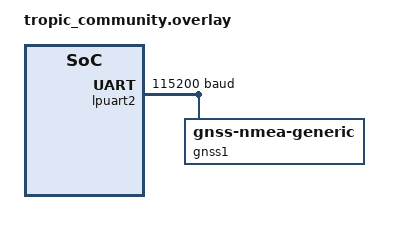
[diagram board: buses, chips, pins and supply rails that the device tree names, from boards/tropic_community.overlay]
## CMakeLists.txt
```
#-------------------------------------------------------------------------------
# Zephyr Cerebri Application
#
# Copyright (c) 2023 CogniPilot Foundation
# SPDX-License-Identifier: Apache-2.0

cmake_minimum_required(VERSION 3.13.1)

find_package(Zephyr REQUIRED HINTS $ENV{ZEPHYR_BASE})

project(hab LANGUAGES C)

# Suppress strncpy warning from upstream Zephyr USB MSC code (usbd_msc_scsi.c)
# The strncpy usage is correct for fixed-size SCSI fields that don't need null termination
zephyr_compile_options(-Wno-stringop-truncation)

set(CYECCA_PYTHON ${CMAKE_CURRENT_SOURCE_DIR}/../../scripts/cyecca_python)

set(CYECCA_PATH $ENV{ZEPHYR_BASE}/../modules/lib/cyecca)

set(flags
  -std=c11
  -Wall
  -Wextra
  -Werror
  -Wstrict-prototypes
  -Waggregate-return
  -Wbad-function-cast
  -Wcast-align
  -Wcast-qual
  -Wfloat-equal
  -Wformat-security
  -Wlogical-op
  -Wmissing-declarations
  # ubxlib includes geographiclib which dir doesn't exist
  #-Wmissing-include-dirs
  -Wmissing-prototypes
  -Wnested-externs
  -Wpointer-arith
  -Wredundant-decls
  -Wsequence-point
  -Wshadow
  -Wstrict-prototypes
  -Wswitch
  -Wundef
  -Wunreachable-code
  -Wunused-but-set-parameter
  -Wwrite-strings
  )
string(JOIN " " flags ${flags})

set(SOURCE_FILES
  src/boot_banner.c
  src/input_mapping.c
  )

if (CONFIG_CEREBRI_HAB_FSM)
  list(APPEND SOURCE_FILES src/fsm.c)
endif()

if (CONFIG_CEREBRI_HAB_ESTIMATE)
  list(APPEND SOURCE_FILES src/estimate.c)
endif()

if (CONFIG_CEREBRI_HAB_ALLOCATION)
  list(APPEND SOURCE_FILES src/allocation.c)
endif()

if (CONFIG_CEREBRI_HAB_LIGHTING)
  list(APPEND SOURCE_FILES src/lighting.c)
endif()

if (CONFIG_CEREBRI_HAB_COMMAND)
  list(APPEND SOURCE_FILES
    src/command.c
    src/mode_bezier.c
    src/mode_velocity.c
    src/mode_attitude.c
    src/mode_attitude_rate.c)
endif()

if (CONFIG_CEREBRI_HAB_POSITION)
  list(APPEND SOURCE_FILES
    src/position.c)
elseif (CONFIG_CEREBRI_HAB_LOGLINEAR_POSITION)
  list(APPEND SOURCE_FILES
    src/log_linear_position.c)
endif()

if (CONFIG_CEREBRI_HAB_ANGULAR_VELOCITY)
  list(APPEND SOURCE_FILES
    src/angular_velocity.c)
endif()

if (CONFIG_CEREBRI_HAB_ATTITUDE)
  list(APPEND SOURCE_FILES
    src/attitude.c)
elseif (CONFIG_CEREBRI_HAB_LOGLINEAR_ATTITUDE)
  list(APPEND SOURCE_FILES
    src/log_linear_attitude.c)
endif()

set(CASADI_DEST_DIR ${CMAKE_BINARY_DIR}/app/hab/casadi)

set(CASADI_FILES
  ${CASADI_DEST_DIR}/hab.c
  ${CASADI_DEST_DIR}/bezier.c
  )

if (CONFIG_CEREBRI_HAB_CASADI)
  list(APPEND SOURCE_FILES ${CASADI_FILES})
endif()

add_custom_command(OUTPUT ${CASADI_DEST_DIR}/hab.c
  COMMAND ${CYECCA_PYTHON} ${CYECCA_PATH}/cyecca/models/hab.py ${CASADI_DEST_DIR}
  DEPENDS ${CYECCA_PATH}/cyecca/models/hab.py)

add_custom_command(OUTPUT ${CASADI_DEST_DIR}/bezier.c
  COMMAND ${CYECCA_PYTHON} ${CYECCA_PATH}/cyecca/models/bezier.py ${CASADI_DEST_DIR}
  DEPENDS ${CYECCA_PATH}/cyecca/models/bezier.py)

set_source_files_properties(
  ${SOURCE_FILES}
  PROPERTIES COMPILE_FLAGS
  "${flags}"
  )

set_source_files_properties(
  ${CASADI_FILES}
  PROPERTIES COMPILE_FLAGS
  "${flags}\
  -Wno-unused-parameter\
  -Wno-missing-prototypes\
  -Wno-missing-declarations\
  -Wno-float-equal")

target_sources(app PRIVATE ${SOURCE_FILES})

target_include_directories(app SYSTEM BEFORE PRIVATE
  ${ZEPHYR_BASE}/include
  ${CMAKE_BINARY_DIR}
  )

if(CONFIG_BOARD STREQUAL "vmu_rt1170")
  zephyr_linker_sources(ITCM_SECTION boards/vmu_rt1170_itcm_linker.ld)
  zephyr_code_relocate(LIBRARY nanopb LOCATION ITCM_TEXT)
endif()

if(CONFIG_BOARD STREQUAL "mr_vmu_tropic")
  zephyr_linker_sources(ITCM_SECTION boards/mr_vmu_tropic_itcm_linker.ld)
  zephyr_code_relocate(LIBRARY nanopb LOCATION ITCM_TEXT)
endif()

if(CONFIG_BOARD STREQUAL "tropic_community")
  # Same coarse relocation vmu_rt1170/mr_navq95a use, without the
  # per-function profiled linker script mr_vmu_tropic also has - that one
  # is generated from a trace of a real running build and references
  # symbols specific to mr_vmu_tropic's own sensor drivers, so it isn't
  # something to copy blind. Revisit once there's a real build to profile.
  zephyr_code_relocate(LIBRARY nanopb LOCATION ITCM_TEXT)
endif()

if(CONFIG_BOARD STREQUAL "mr_navq95a" OR CONFIG_BOARD STREQUAL "mr_navq95b")
  # Relocate code to ITCM
  zephyr_linker_sources(ITCM_SECTION boards/mr_navq95a_itcm_linker.ld)
  zephyr_code_relocate(LIBRARY nanopb LOCATION ITCM_TEXT)
  # Relocate log ring buffer to SDRAM
  zephyr_linker_sources(SECTIONS boards/navq95.ld)
  # Relocate data to OCRAM since zephyr doesn't have an auto spillover
  zephyr_code_relocate(FILES ${SOURCE_FILES} LOCATION OCRAM_DATA)
  zephyr_code_relocate(FILES ${SOURCE_FILES} LOCATION OCRAM_BSS)
  zephyr_code_relocate(FILES ${SOURCE_FILES} LOCATION OCRAM_NOINIT)
  zephyr_code_relocate(LIBRARY cerebri_synapse_topic LOCATION OCRAM_BSS)
  zephyr_code_relocate(LIBRARY cerebri_synapse_topic LOCATION OCRAM_NOINIT)
endif()

# vi: ts=2 sw=2 et
```

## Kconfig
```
# Copyright (c) 2023, CogniPilot Foundation
# SPDX-License-Identifier: Apache-2.0

mainmenu "CogniPilot - Cerebri - HAB"
menu "Zephyr"
source "Kconfig.zephyr"
endmenu

menu "HAB"
config CEREBRI_HAB_ESTIMATE
  bool "enable estimate"
  depends on CEREBRI_HAB_CASADI
  help
    Enable estimator

config CEREBRI_HAB_FSM
  bool "enable finite state machine"
  help
    Enable fintie state machine

config CEREBRI_HAB_LIGHTING
  bool "enable lighting"
  help
    Enable lighting

config CEREBRI_HAB_COMMAND
  bool "enable command"
  depends on CEREBRI_HAB_ALLOCATION
  help
    Enable joy

config CEREBRI_HAB_ALLOCATION
  bool "enable mixing"
  help
    Enable mixing

config CEREBRI_HAB_POSITION
  bool "enable position"
  depends on CEREBRI_HAB_CASADI
  help
    Enable position

config CEREBRI_HAB_ANGULAR_VELOCITY
  bool "enable velocity"
  depends on CEREBRI_HAB_ALLOCATION
  depends on CEREBRI_HAB_CASADI
  help
    Enable velocity

config CEREBRI_HAB_ATTITUDE
  bool "enable attitude"
  depends on CEREBRI_HAB_ANGULAR_VELOCITY
  depends on CEREBRI_HAB_CASADI
  help
    Enable attitude

config CEREBRI_HAB_CASADI
  bool "enable casadi code"
  help
    Enable Casadi generated code

config CEREBRI_HAB_ESTIMATE_ODOMETRY_ETHERNET
  bool "fuse odometry from ethernet"
  depends on CEREBRI_HAB_ESTIMATE
  help
    Enable odometry from ethernet

config CEREBRI_HAB_BATTERY_NCELLS
  int "number of cells in battery"
  default 4
  help
    Number of cells in battery

config CEREBRI_HAB_BATTERY_CELL_MIN_MILLIVOLT
  int "millivolts per cell before shutdown"
  default 3300
  help
    millivolts per cell before shutdown

config CEREBRI_HAB_BATTERY_CELL_LOW_MILLIVOLT
  int "millivolts per cell before warning"
  default 3500
  help
    millivolts per cell before warning

config CEREBRI_HAB_BATTERY_CELL_NOM_MILLIVOLT
  int "nominal millivolts per cell"
  default 3700
  help
    nominal millivolts per cell

config CEREBRI_HAB_BATTERY_CELL_MAX_MILLIVOLT
  int "max millivolts per cell before warning"
  default 4300
  help
    max millivolts per cell before warning

config CEREBRI_HAB_GAIN_HEADING
  int "heading gain"
  default 100
  help
    Steering = Heading error * GAIN_/ 1000

config CEREBRI_HAB_GAIN_CROSS_TRACK
  int "cross track gain"
  default 100
  help
    Steering = Cross track error * GAIN / 1000

config CEREBRI_HAB_GAIN_ALONG_TRACK
  int "along track gain"
  default 100
  help
    Steering = Along track error * GAIN / 1000

config CEREBRI_HAB_MAX_VELOCITY_MM_S
  int "max velocity, mm/s"
  default 1000
  help
    Max velocity in mm/s

config CEREBRI_HAB_MOTOR_L_MM
  int "moment arm for props"
  default 174
  help
    moment arm for props

config CEREBRI_HAB_MOTOR_CM
  int "motor moment coefficient * 1e6"
  default 16000
  help
    moment arm for props

config CEREBRI_HAB_MOTOR_CT
  int "motor thrust coefficient * 1e9"
  default 8549
  help
    moment thrust coefficient * 1e9

config CEREBRI_HAB_ROLL_KP
  int "roll kp * 1e6"
  default 2000000
  help
    roll kp * 1e6

config CEREBRI_HAB_PITCH_KP
  int "pitch kp * 1e6"
  default 2000000
  help
    pitch kp * 1e6

config CEREBRI_HAB_YAW_KP
  int "yaw kp * 1e6"
  default 1000000
  help
    yaw kp * 1e6

config CEREBRI_HAB_ROLLRATE_KP
  int "rollrate kp * 1e6"
  default 300000
  help
    rollrate kp * 1e6

config CEREBRI_HAB_PITCHRATE_KP
  int "pitchrate kp * 1e6"
  default 300000
  help
    pitchrate kp * 1e6

config CEREBRI_HAB_YAWRATE_KP
  int "yawrate kp * 1e6"
  default 300000
  help
    yawrate kp * 1e6

config CEREBRI_HAB_ROLLRATE_KI
  int "rollrate ki * 1e6"
  default 50000
  help
    rollrate ki * 1e6

config CEREBRI_HAB_PITCHRATE_KI
  int "pitchrate ki * 1e6"
  default 50000
  help
    pitchrate ki * 1e6

config CEREBRI_HAB_YAWRATE_KI
  int "yawrate ki * 1e6"
  default 50000
  help
    yawrate ki * 1e6

config CEREBRI_HAB_ROLLRATE_KD
  int "rollrate kd * 1e6"
  default 0
  help
    rollrate kd * 1e6

config CEREBRI_HAB_PITCHRATE_KD
  int "pitchrate kd * 1e6"
  default 0
  help
    pitchrate kd * 1e6

config CEREBRI_HAB_YAWRATE_KD
  int "yawrate kd * 1e6"
  default 0
  help
    yawrate kd * 1e6

config CEREBRI_HAB_ATTITUDE_RATE_FCUT
  int "fcut [hz] * 1e3"
  default 20000
  help
    attitude_rate cut frequency * 1e3

config CEREBRI_HAB_ROLLRATE_IMAX
  int "rollrate imax * 1e3"
  default 20000
  help
    rollrate imax * 1e6

config CEREBRI_HAB_PITCHRATE_IMAX
  int "pitchate imax * 1e3"
  default 20000
  help
    pitchrate imax * 1e6

config CEREBRI_HAB_YAWRATE_IMAX
  int "yawrate imax * 1e6"
  default 20000
  help
    yawrate imax * 1e6

config CEREBRI_HAB_THRUST_TRIM
  int "thrust_trim * 1e3 [N}"
  default 21952
  help
    thrust trim * 1e3 [N]

config CEREBRI_HAB_THRUST_DELTA
  int "thrust delta* 1e3 [N}"
  default 19756
  help
    thrust delta imax * 1e3 [N}

config CEREBRI_HAB_LOG_LINEAR_ATTITUDE
  bool "enable loglinear attitude control"
  help
    Enable loglinear atitude control

config CEREBRI_HAB_LOG_LINEAR_POSITION
  bool "enable loglinear position control"
  help
    Enable loglinear atitude position

config CEREBRI_HAB_ATTITUDE_EST_ACCEL_GAIN
  int "attitude rate accel gain"
  default 40
  help
    attitude rate accel gain

config CEREBRI_HAB_ATTITUDE_EST_MAG_GAIN
  int "attitude rate mag gain"
  default 40
  help
    attitude rate mag gain


module = CEREBRI_HAB
module-str = cerebri_hab
source "subsys/logging/Kconfig.template.log_config"
endmenu
```

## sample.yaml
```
sample:
  description: HAB
  name: HAB
common:
  build_only: true
tests:
  hab.posix:
    tags:
      - hab
    integration_platforms:
      - native_sim
  hab.vmu_rt1170/mimxrt1176/cm7:
    tags:
      - hab
    integration_platforms:
      - vmu_rt1170/mimxrt1176/cm7
  hab.mr_vmu_tropic/mimxrt1064:
    tags:
      - hab
    integration_platforms:
      - mr_vmu_tropic/mimxrt1064
  hab.tropic_community/mimxrt1062:
    tags:
      - hab
    integration_platforms:
      - tropic_community/mimxrt1062
  hab.mr_navq95a/mimx9596/m7/flash:
    tags:
      - hab
    integration_platforms:
      - mr_navq95a/mimx9596/m7/flash
  hab.mr_navq95b/mimx9596/m7/flash:
    tags:
      - hab
    integration_platforms:
      - mr_navq95b/mimx9596/m7/flash
```

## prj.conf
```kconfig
CONFIG_CEREBRI_APP_NAME="hab"

CONFIG_SYS_CLOCK_TICKS_PER_SEC=100000
CONFIG_TICKLESS_KERNEL=n

CONFIG_CEREBRI_DREAM_SIL=n

CONFIG_CEREBRI_HAB_ESTIMATE=y
CONFIG_CEREBRI_HAB_FSM=y
CONFIG_CEREBRI_HAB_COMMAND=y
CONFIG_CEREBRI_HAB_ALLOCATION=y
CONFIG_CEREBRI_HAB_POSITION=y
CONFIG_CEREBRI_HAB_ANGULAR_VELOCITY=y
CONFIG_CEREBRI_HAB_ATTITUDE=y
CONFIG_CEREBRI_HAB_LOG_LINEAR_POSITION=y
CONFIG_CEREBRI_HAB_LOG_LINEAR_ATTITUDE=y
CONFIG_CEREBRI_HAB_LIGHTING=n
CONFIG_CEREBRI_HAB_CASADI=y
CONFIG_CEREBRI_ACTUATE_LED_ARRAY_COUNT=36

CONFIG_CEREBRI_ACTUATE_LED_ARRAY=y
CONFIG_CEREBRI_ACTUATE_SOUND=n

CONFIG_NET_BUF_RX_COUNT=24
CONFIG_NET_PKT_RX_COUNT=24

CONFIG_CEREBRI_SENSE_RC=y
CONFIG_INPUT_MODE_SYNCHRONOUS=y
CONFIG_CEREBRI_SENSE_POWER=y
CONFIG_CEREBRI_SENSE_SAFETY=n
CONFIG_ZROS_SENSE_IMU=n
CONFIG_ZROS_SENSE_MAG=n

CONFIG_CEREBRI_HAB_ESTIMATE_ODOMETRY_ETHERNET=n
CONFIG_CEREBRI_SYNAPSE_ETH_RX=y
CONFIG_CEREBRI_SYNAPSE_ETH_TX=y
CONFIG_CEREBRI_SYNAPSE_LOG_SDCARD=y

CONFIG_CEREBRI_SYNAPSE_TOPIC=y
CONFIG_CEREBRI_CORE_COMMON=y
CONFIG_CEREBRI_CORE_COMMON_BOOT_BANNER=n
CONFIG_ZROS=y
CONFIG_SHELL_STACK_SIZE=8192
CONFIG_INIT_STACKS=y

CONFIG_LOG=y
CONFIG_LOG_CMDS=y
CONFIG_LOG_MODE_DEFERRED=y
CONFIG_CEREBRI_HAB_LOG_LEVEL_DBG=n

CONFIG_SPI_RTIO=y
CONFIG_SPI_ASYNC=n
CONFIG_SPI_NXP_LPSPI_DMA=n
CONFIG_ICM4268X_DECODER=y
CONFIG_ICM4268X_STREAM=y

CONFIG_FILE_SYSTEM=y
CONFIG_FAT_FILESYSTEM_ELM=y
CONFIG_DISK_ACCESS=y
CONFIG_FS_FATFS_EXFAT=y
CONFIG_POSIX_FILE_SYSTEM=y
CONFIG_DISK_DRIVER_SDMMC=y
CONFIG_FS_FATFS_MOUNT_MKFS=y

CONFIG_CBPRINTF_FP_SUPPORT=y

# modules
CONFIG_SYNAPSE_PB=y
CONFIG_NANOPB=y

# General config
CONFIG_POSIX_API=y
CONFIG_NEWLIB_LIBC=y
CONFIG_MAIN_THREAD_PRIORITY=5
CONFIG_SYSTEM_WORKQUEUE_PRIORITY=-2

# Networking config
CONFIG_NET_SHELL=y
CONFIG_NETWORKING=y
CONFIG_NET_IPV4=y
CONFIG_NET_IPV6=n
CONFIG_NET_TCP=y
CONFIG_NET_SOCKETS=y

# Network address config
CONFIG_NET_CONFIG_SETTINGS=y
CONFIG_NET_CONFIG_INIT_TIMEOUT=0
CONFIG_NET_STATISTICS=y
CONFIG_NET_MGMT_EVENT_INFO=y
CONFIG_NET_MGMT_EVENT_MONITOR=y
CONFIG_NET_BUF_POOL_USAGE=y
CONFIG_NET_DEBUG_NET_PKT_ALLOC=y
CONFIG_NET_CONFIG_NEED_IPV4=y
CONFIG_NET_CONFIG_MY_IPV4_ADDR="192.0.2.1"
CONFIG_NET_CONFIG_PEER_IPV4_ADDR="192.0.2.2"

# STATS
CONFIG_THREAD_RUNTIME_STATS=y
CONFIG_SCHED_THREAD_USAGE=y
CONFIG_SCHED_THREAD_USAGE_ANALYSIS=y
CONFIG_SCHED_THREAD_USAGE_ALL=y
CONFIG_SCHED_THREAD_USAGE_AUTO_ENABLE=y
```

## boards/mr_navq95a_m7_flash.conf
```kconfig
CONFIG_ENTROPY_GENERATOR=y
CONFIG_TEST_RANDOM_GENERATOR=y
CONFIG_SPEED_OPTIMIZATIONS=n
CONFIG_SIZE_OPTIMIZATIONS=n
CONFIG_DEBUG_OPTIMIZATIONS=y
CONFIG_CODE_DATA_RELOCATION=y

CONFIG_TEST=y
CONFIG_UBSAN=n
CONFIG_ASSERT=y
CONFIG_ASSERT_LEVEL=2
CONFIG_ASSERT_VERBOSE=y
CONFIG_CODE_DATA_RELOCATION=y

CONFIG_CMSIS_DSP=y
CONFIG_CMSIS_DSP_FILTERING=y


CONFIG_SYSTEM_WORKQUEUE_STACK_SIZE=4096

CONFIG_STACK_CANARIES=y

CONFIG_ISR_STACK_SIZE=2048
CONFIG_SHELL_STACK_SIZE=4096

CONFIG_LOG_MODE_DEFERRED=y
CONFIG_LOG_MODE_IMMEDIATE=n

CONFIG_FPU=y

# gains
CONFIG_CEREBRI_HAB_THRUST_TRIM=10976
CONFIG_CEREBRI_HAB_THRUST_DELTA=10976

CONFIG_CEREBRI_HAB_ROLL_KP=5000000
CONFIG_CEREBRI_HAB_PITCH_KP=5000000
CONFIG_CEREBRI_HAB_YAW_KP=2000000

CONFIG_CEREBRI_HAB_ROLLRATE_KP=300000
CONFIG_CEREBRI_HAB_PITCHRATE_KP=300000
CONFIG_CEREBRI_HAB_YAWRATE_KP=50000

CONFIG_CEREBRI_HAB_ROLLRATE_KI=50000
CONFIG_CEREBRI_HAB_PITCHRATE_KI=50000
CONFIG_CEREBRI_HAB_YAWRATE_KI=50000

CONFIG_CEREBRI_HAB_ROLLRATE_IMAX=20000
CONFIG_CEREBRI_HAB_PITCHRATE_IMAX=20000
CONFIG_CEREBRI_HAB_YAWRATE_IMAX=20000

CONFIG_CEREBRI_HAB_ROLLRATE_KD=10000
CONFIG_CEREBRI_HAB_PITCHRATE_KD=10000
CONFIG_CEREBRI_HAB_YAWRATE_KD=0
CONFIG_CEREBRI_HAB_ATTITUDE_RATE_FCUT=10000

CONFIG_CEREBRI_HAB_ATTITUDE_EST_ACCEL_GAIN=140
CONFIG_CEREBRI_HAB_ATTITUDE_EST_MAG_GAIN=800

# HAB APPS
CONFIG_CEREBRI_HAB_ALLOCATION=y
CONFIG_CEREBRI_HAB_ANGULAR_VELOCITY=y
CONFIG_CEREBRI_HAB_ATTITUDE=y
CONFIG_CEREBRI_HAB_COMMAND=y
CONFIG_CEREBRI_HAB_ESTIMATE=y
CONFIG_CEREBRI_HAB_ESTIMATE_ODOMETRY_ETHERNET=n
CONFIG_CEREBRI_HAB_FSM=y
CONFIG_CEREBRI_HAB_LIGHTING=n
CONFIG_CEREBRI_HAB_POSITION=y

# disabled for first live flight
CONFIG_CEREBRI_ACTUATE_PWM_SHELL=n
CONFIG_CEREBRI_ACTUATE_SOUND=n

# config
CONFIG_INPUT=y
CONFIG_INPUT_SBUS=y
CONFIG_INPUT_SBUS_THREAD_STACK_SIZE=1024
CONFIG_INPUT_EVENT_DUMP=n
CONFIG_INPUT_SHELL=n
CONFIG_INPUT_SBUS_REPORT_FILTER=0
CONFIG_INPUT_THREAD_STACK_SIZE=2048

CONFIG_DISK_ACCESS=n
CONFIG_FS_FATFS_EXFAT=n
CONFIG_DISK_DRIVER_SDMMC=n
CONFIG_FS_FATFS_MOUNT_MKFS=n
CONFIG_CEREBRI_SYNAPSE_LOG_SDCARD=y
CONFIG_RING_BUFFER_LARGE=y
CONFIG_ZROS_SENSE_IMU=y

CONFIG_CEREBRI_SENSE_RC=y
#CONFIG_ZROS_SENSE_MAG=y
CONFIG_CEREBRI_SENSE_SAFETY=n

# I3C tends to lock up the system, needs a driver fix
CONFIG_ZROS_SENSE_MAG=n
CONFIG_I3C=n
CONFIG_BMM350=n
CONFIG_BMP581=n

CONFIG_CEREBRI_SYNAPSE_ETH_RX=y
CONFIG_CEREBRI_SYNAPSE_ETH_TX=y
CONFIG_CEREBRI_ACTUATE_LED_ARRAY=n
CONFIG_CEREBRI_SENSE_POWER=y

CONFIG_PWM=y

CONFIG_LED_STRIP=n
CONFIG_APA102_STRIP=n

CONFIG_CAN=y
CONFIG_CAN_MAX_FILTER=5
CONFIG_CAN_SHELL=y

CONFIG_NET_DRIVERS=y

CONFIG_NET_SOCKETS_CAN=y
CONFIG_NET_DEFAULT_IF_CANBUS_RAW=y

CONFIG_CAN_LOG_LEVEL_DBG=n
CONFIG_CAN_FD_MODE=y
CONFIG_SHELL_ARGC_MAX=72
CONFIG_I2C=y
CONFIG_SENSOR=y
CONFIG_SENSOR_SHELL=y
CONFIG_HEAP_MEM_POOL_SIZE=16384

# Debugging
CONFIG_DEBUG_THREAD_INFO=y

# Logging
#CONFIG_LOG_BACKEND_NET=n
#CONFIG_LOG_BACKEND_NET_SERVER="192.0.2.2"

# RPMsg
CONFIG_IPM=y
CONFIG_IPM_MBOX=y
CONFIG_MBOX_NXP_IMX_MU=y
CONFIG_MBOX_INIT_PRIORITY=0
CONFIG_OPENAMP=y
CONFIG_OPENAMP_COPY_RSC_TABLE=y
CONFIG_OPENAMP_RSC_TABLE_NUM_RPMSG_BUFF=8
CONFIG_OPENAMP_RSC_TABLE=y
CONFIG_OPENAMP_MASTER=n
CONFIG_OPENAMP_WITH_DCACHE=y
CONFIG_CEREBRI_SYNAPSE_RPMSG=y

# TTY over RPMsg (uncomment block below to enable)
#CONFIG_SHELL_BACKEND_RPMSG=y
#CONFIG_SHELL_BACKEND_SERIAL=n
#CONFIG_ASSERT=n

# Disable fat and enable rpmsgfs
CONFIG_FILE_SYSTEM_RPMSGFS=y
CONFIG_FAT_FILESYSTEM_ELM=n
CONFIG_FILE_SYSTEM_SHELL=y

# Disable atomic 64 support otherwise open-amp cannot be linked
CONFIG_COMPILER_OPT="-DNO_ATOMIC_64_SUPPORT"
```

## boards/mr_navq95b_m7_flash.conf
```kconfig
CONFIG_ENTROPY_GENERATOR=y
CONFIG_TEST_RANDOM_GENERATOR=y
CONFIG_SPEED_OPTIMIZATIONS=n
CONFIG_SIZE_OPTIMIZATIONS=n
CONFIG_DEBUG_OPTIMIZATIONS=y
CONFIG_CODE_DATA_RELOCATION=y

CONFIG_TEST=y
CONFIG_UBSAN=n
CONFIG_ASSERT=y
CONFIG_ASSERT_LEVEL=2
CONFIG_ASSERT_VERBOSE=y
CONFIG_CODE_DATA_RELOCATION=y

CONFIG_CMSIS_DSP=y
CONFIG_CMSIS_DSP_FILTERING=y


CONFIG_SYSTEM_WORKQUEUE_STACK_SIZE=4096

CONFIG_STACK_CANARIES=y

CONFIG_ISR_STACK_SIZE=2048
CONFIG_SHELL_STACK_SIZE=4096

CONFIG_LOG_MODE_DEFERRED=y
CONFIG_LOG_MODE_IMMEDIATE=n

CONFIG_FPU=y

# gains
CONFIG_CEREBRI_HAB_THRUST_TRIM=10976
CONFIG_CEREBRI_HAB_THRUST_DELTA=10976

CONFIG_CEREBRI_HAB_ROLL_KP=5000000
CONFIG_CEREBRI_HAB_PITCH_KP=5000000
CONFIG_CEREBRI_HAB_YAW_KP=2000000

CONFIG_CEREBRI_HAB_ROLLRATE_KP=300000
CONFIG_CEREBRI_HAB_PITCHRATE_KP=300000
CONFIG_CEREBRI_HAB_YAWRATE_KP=50000

CONFIG_CEREBRI_HAB_ROLLRATE_KI=50000
CONFIG_CEREBRI_HAB_PITCHRATE_KI=50000
CONFIG_CEREBRI_HAB_YAWRATE_KI=50000

CONFIG_CEREBRI_HAB_ROLLRATE_IMAX=20000
CONFIG_CEREBRI_HAB_PITCHRATE_IMAX=20000
CONFIG_CEREBRI_HAB_YAWRATE_IMAX=20000

CONFIG_CEREBRI_HAB_ROLLRATE_KD=10000
CONFIG_CEREBRI_HAB_PITCHRATE_KD=10000
CONFIG_CEREBRI_HAB_YAWRATE_KD=0
CONFIG_CEREBRI_HAB_ATTITUDE_RATE_FCUT=10000

CONFIG_CEREBRI_HAB_ATTITUDE_EST_ACCEL_GAIN=140
CONFIG_CEREBRI_HAB_ATTITUDE_EST_MAG_GAIN=800

# HAB APPS
CONFIG_CEREBRI_HAB_ALLOCATION=y
CONFIG_CEREBRI_HAB_ANGULAR_VELOCITY=y
CONFIG_CEREBRI_HAB_ATTITUDE=y
CONFIG_CEREBRI_HAB_COMMAND=y
CONFIG_CEREBRI_HAB_ESTIMATE=y
CONFIG_CEREBRI_HAB_ESTIMATE_ODOMETRY_ETHERNET=n
CONFIG_CEREBRI_HAB_FSM=y
CONFIG_CEREBRI_HAB_LIGHTING=n
CONFIG_CEREBRI_HAB_POSITION=y

# disabled for first live flight
CONFIG_CEREBRI_ACTUATE_PWM_SHELL=n
CONFIG_CEREBRI_ACTUATE_SOUND=n

# config
CONFIG_INPUT=y
CONFIG_INPUT_SBUS=y
CONFIG_INPUT_SBUS_THREAD_STACK_SIZE=1024
CONFIG_INPUT_EVENT_DUMP=n
CONFIG_INPUT_SHELL=n
CONFIG_INPUT_MODE_SYNCHRONOUS=n
CONFIG_INPUT_SBUS_REPORT_FILTER=0
CONFIG_INPUT_THREAD_STACK_SIZE=2048

CONFIG_DISK_ACCESS=n
CONFIG_FS_FATFS_EXFAT=n
CONFIG_DISK_DRIVER_SDMMC=n
CONFIG_FS_FATFS_MOUNT_MKFS=n
CONFIG_CEREBRI_SYNAPSE_LOG_SDCARD=y
CONFIG_RING_BUFFER_LARGE=y
CONFIG_ZROS_SENSE_STREAM=y
CONFIG_ZROS_SENSE_STREAM_IMU=y

CONFIG_ICM45686_STREAM=y

CONFIG_CEREBRI_SENSE_RC=y
CONFIG_CEREBRI_SENSE_SAFETY=n

CONFIG_ZROS_SENSE_MAG=y
CONFIG_I3C=y
CONFIG_BMM350=y
CONFIG_BMP581=y

CONFIG_CEREBRI_SYNAPSE_ETH_RX=y
CONFIG_CEREBRI_SYNAPSE_ETH_TX=y
CONFIG_CEREBRI_ACTUATE_LED_ARRAY=n
CONFIG_CEREBRI_SENSE_POWER=n # Needs pull-up

CONFIG_PWM=y

CONFIG_LED_STRIP=n
CONFIG_APA102_STRIP=n
CONFIG_ZROS_SENSE_MAG_COUNT=1

CONFIG_CAN=y
CONFIG_CAN_MAX_FILTER=5
CONFIG_CAN_SHELL=y

CONFIG_NET_DRIVERS=y

CONFIG_NET_SOCKETS_CAN=y
CONFIG_NET_DEFAULT_IF_CANBUS_RAW=y

CONFIG_CAN_LOG_LEVEL_DBG=n
CONFIG_CAN_FD_MODE=y
CONFIG_SHELL_ARGC_MAX=72
CONFIG_I2C=y
CONFIG_SENSOR=y
CONFIG_SENSOR_SHELL=y
CONFIG_HEAP_MEM_POOL_SIZE=16384

# Debugging
CONFIG_DEBUG_THREAD_INFO=y

# Logging
#CONFIG_LOG_BACKEND_NET=n
#CONFIG_LOG_BACKEND_NET_SERVER="192.0.2.2"

# RPMsg
CONFIG_IPM=y
CONFIG_IPM_MBOX=y
CONFIG_MBOX_NXP_IMX_MU=y
CONFIG_MBOX_INIT_PRIORITY=0
CONFIG_OPENAMP=y
CONFIG_OPENAMP_COPY_RSC_TABLE=y
CONFIG_OPENAMP_RSC_TABLE_NUM_RPMSG_BUFF=8
CONFIG_OPENAMP_RSC_TABLE=y
CONFIG_OPENAMP_MASTER=n
CONFIG_OPENAMP_WITH_DCACHE=y
CONFIG_CEREBRI_SYNAPSE_RPMSG=y

# TTY over RPMsg (uncomment block below to enable)
#CONFIG_SHELL_BACKEND_RPMSG=y
#CONFIG_SHELL_BACKEND_SERIAL=n
#CONFIG_ASSERT=n

# Disable fat and enable rpmsgfs
CONFIG_FILE_SYSTEM_RPMSGFS=y
CONFIG_FAT_FILESYSTEM_ELM=n
CONFIG_FILE_SYSTEM_SHELL=y

# Disable atomic 64 support otherwise open-amp cannot be linked
CONFIG_COMPILER_OPT="-DNO_ATOMIC_64_SUPPORT"
```

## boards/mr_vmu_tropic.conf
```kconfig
#CONFIG_SPEED_OPTIMIZATIONS=y
CONFIG_SIZE_OPTIMIZATIONS=y
CONFIG_CODE_DATA_RELOCATION=y

CONFIG_TEST=y
CONFIG_UBSAN=n
#FlexPWM bug
#CONFIG_ASSERT=y
CONFIG_ASSERT_LEVEL=2
CONFIG_ASSERT_VERBOSE=y

CONFIG_CMSIS_DSP=y
CONFIG_CMSIS_DSP_FILTERING=y


CONFIG_SYSTEM_WORKQUEUE_STACK_SIZE=4096

CONFIG_STACK_CANARIES=y

CONFIG_ISR_STACK_SIZE=8192

CONFIG_LOG_MODE_DEFERRED=y
CONFIG_LOG_MODE_IMMEDIATE=n

CONFIG_FPU=y

# gains
CONFIG_CEREBRI_HAB_THRUST_TRIM=10976
CONFIG_CEREBRI_HAB_THRUST_DELTA=10976

CONFIG_CEREBRI_HAB_ROLL_KP=5000000
CONFIG_CEREBRI_HAB_PITCH_KP=5000000
CONFIG_CEREBRI_HAB_YAW_KP=2000000

CONFIG_CEREBRI_HAB_ROLLRATE_KP=600000
CONFIG_CEREBRI_HAB_PITCHRATE_KP=600000
CONFIG_CEREBRI_HAB_YAWRATE_KP=100000

CONFIG_CEREBRI_HAB_ROLLRATE_KI=50000
CONFIG_CEREBRI_HAB_PITCHRATE_KI=50000
CONFIG_CEREBRI_HAB_YAWRATE_KI=50000

CONFIG_CEREBRI_HAB_ROLLRATE_IMAX=20000
CONFIG_CEREBRI_HAB_PITCHRATE_IMAX=20000
CONFIG_CEREBRI_HAB_YAWRATE_IMAX=20000

CONFIG_CEREBRI_HAB_ROLLRATE_KD=20000
CONFIG_CEREBRI_HAB_PITCHRATE_KD=20000
CONFIG_CEREBRI_HAB_YAWRATE_KD=0
CONFIG_CEREBRI_HAB_ATTITUDE_RATE_FCUT=10000

CONFIG_CEREBRI_HAB_ATTITUDE_EST_ACCEL_GAIN=140
CONFIG_CEREBRI_HAB_ATTITUDE_EST_MAG_GAIN=800

# HAB APPS
CONFIG_CEREBRI_HAB_ALLOCATION=y
CONFIG_CEREBRI_HAB_ANGULAR_VELOCITY=y
CONFIG_CEREBRI_HAB_ATTITUDE=y
CONFIG_CEREBRI_HAB_COMMAND=y
CONFIG_CEREBRI_HAB_ESTIMATE=y
CONFIG_CEREBRI_HAB_ESTIMATE_ODOMETRY_ETHERNET=n
CONFIG_CEREBRI_HAB_FSM=y
CONFIG_CEREBRI_HAB_LIGHTING=n
CONFIG_CEREBRI_HAB_POSITION=y

# disabled for first live flight
CONFIG_CEREBRI_ACTUATE_PWM_SHELL=n
CONFIG_CEREBRI_ACTUATE_SOUND=y

# config
CONFIG_INPUT=y
CONFIG_INPUT_SBUS_THREAD_STACK_SIZE=8192
CONFIG_INPUT_EVENT_DUMP=n
CONFIG_INPUT_SHELL=n
CONFIG_INPUT_SBUS_REPORT_FILTER=0

CONFIG_CEREBRI_SYNAPSE_LOG_SDCARD=y
CONFIG_ZROS_SENSE_STREAM=y
CONFIG_ZROS_SENSE_STREAM_IMU=y
CONFIG_ICM45686_STREAM=y
#CONFIG_ZROS_SENSE_STREAM_IMU_DRDY_MODE=y

CONFIG_CEREBRI_SENSE_RC=y
CONFIG_ZROS_SENSE_MAG=y
CONFIG_CEREBRI_SENSE_SAFETY=y
CONFIG_ZROS_SENSE_GNSS=y

CONFIG_CEREBRI_SYNAPSE_ETH_RX=y
CONFIG_CEREBRI_SYNAPSE_ETH_TX=y
CONFIG_CEREBRI_ACTUATE_LED_ARRAY=n
CONFIG_CEREBRI_SENSE_POWER=y

CONFIG_PWM=y

CONFIG_ZROS_SENSE_MAG_COUNT=1

CONFIG_CAN=y
CONFIG_CAN_MAX_FILTER=5
CONFIG_CAN_SHELL=y

CONFIG_NET_DRIVERS=y
CONFIG_NET_CANBUS=y

CONFIG_NET_SOCKETS_CAN=y
CONFIG_NET_DEFAULT_IF_CANBUS_RAW=y

CONFIG_CAN_LOG_LEVEL_DBG=n
CONFIG_CAN_FD_MODE=y
CONFIG_SHELL_ARGC_MAX=72
CONFIG_I2C=y
CONFIG_SENSOR=y
CONFIG_SENSOR_SHELL=y
CONFIG_HEAP_MEM_POOL_SIZE=16384

# Debugging
CONFIG_DEBUG_THREAD_INFO=y

# Logging
#CONFIG_LOG_BACKEND_NET=n
#CONFIG_LOG_BACKEND_NET_SERVER="192.0.2.2"
```

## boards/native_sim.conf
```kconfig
# gains
CONFIG_CEREBRI_HAB_THRUST_TRIM=21952
CONFIG_CEREBRI_HAB_THRUST_DELTA=19756

CONFIG_CEREBRI_HAB_ESTIMATE_ODOMETRY_ETHERNET=n

CONFIG_CEREBRI_HAB_ROLL_KP=5000000
CONFIG_CEREBRI_HAB_PITCH_KP=5000000
CONFIG_CEREBRI_HAB_YAW_KP=2000000

CONFIG_CEREBRI_HAB_ROLLRATE_KP=300000
CONFIG_CEREBRI_HAB_PITCHRATE_KP=300000
CONFIG_CEREBRI_HAB_YAWRATE_KP=50000

CONFIG_CEREBRI_HAB_ROLLRATE_KI=50000
CONFIG_CEREBRI_HAB_PITCHRATE_KI=50000
CONFIG_CEREBRI_HAB_YAWRATE_KI=50000

CONFIG_CEREBRI_HAB_ROLLRATE_IMAX=20000
CONFIG_CEREBRI_HAB_PITCHRATE_IMAX=20000
CONFIG_CEREBRI_HAB_YAWRATE_IMAX=20000

CONFIG_CEREBRI_HAB_ROLLRATE_KD=10000
CONFIG_CEREBRI_HAB_PITCHRATE_KD=10000
CONFIG_CEREBRI_HAB_YAWRATE_KD=0
CONFIG_CEREBRI_HAB_ATTITUDE_RATE_FCUT=10000

CONFIG_CEREBRI_HAB_ATTITUDE_EST_ACCEL_GAIN=150
CONFIG_CEREBRI_HAB_ATTITUDE_EST_MAG_GAIN=150

# config
CONFIG_ETH_NATIVE_POSIX=y
CONFIG_TEST_RANDOM_GENERATOR=y
CONFIG_SYS_CLOCK_TICKS_PER_SEC=500
CONFIG_NATIVE_POSIX_SLOWDOWN_TO_REAL_TIME=n

CONFIG_NO_OPTIMIZATIONS=y
CONFIG_UART_NATIVE_PTY=y

CONFIG_REBOOT=n
CONFIG_LOG_BACKEND_NATIVE_POSIX=y
CONFIG_LOG_MODE_DEFERRED=n
CONFIG_LOG_MODE_IMMEDIATE=y

CONFIG_UART_NATIVE_PTY_0_ON_OWN_PTY=y
CONFIG_UART_NATIVE_PTY_0_ON_STDINOUT=n
CONFIG_UART_NATIVE_PTY_AUTOATTACH_DEFAULT_CMD="xterm -fa Monospcae -fs 12 -fg grey -bg black -T cerebri-shell -e screen %s &"

CONFIG_CEREBRI_BOOT_BANNER=n
CONFIG_CEREBRI_DREAM_SIL=y

CONFIG_TEST=y
CONFIG_ASAN=y
CONFIG_UBSAN=n
CONFIG_ASSERT=y
CONFIG_ASSERT_LEVEL=2
CONFIG_ASSERT_VERBOSE=y

CONFIG_CEREBRI_ACTUATE_LED_ARRAY=n
CONFIG_CEREBRI_ACTUATE_SOUND=n
CONFIG_CEREBRI_ACTUATE_PWM=n
CONFIG_CEREBRI_SENSE_POWER=n
CONFIG_CEREBRI_SENSE_RC=n
CONFIG_ZROS_SENSE_IMU=n
CONFIG_ZROS_SENSE_BARO=n
CONFIG_ZROS_SENSE_MAG=n
CONFIG_ZROS_SENSE_GNSS=n
CONFIG_CEREBRI_SENSE_SAFETY=n
CONFIG_CEREBRI_SENSE_WHEEL_ODOMETRY=n

CONFIG_DISK_ACCESS=n
CONFIG_FS_FATFS_EXFAT=n
CONFIG_DISK_DRIVER_SDMMC=n
CONFIG_FS_FATFS_MOUNT_MKFS=n
CONFIG_CEREBRI_SYNAPSE_LOG_SDCARD=n

CONFIG_NEWLIB_LIBC=n
CONFIG_EXTERNAL_LIBC=y
CONFIG_POSIX_API=n
```

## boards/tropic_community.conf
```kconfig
CONFIG_SIZE_OPTIMIZATIONS=y
CONFIG_CODE_DATA_RELOCATION=y

# prj.conf runs a ticking kernel at 100 kHz: a SysTick interrupt, and often a
# context switch, every 10 us. On this RT1062 (600 MHz, code executing from
# QSPI flash through the I-cache) that leaves too little headroom - once SD
# logging's code competes for the cache, tick + switch handling can take the
# whole CPU and starve every thread. Tickless keeps the same 10 us resolution
# but only interrupts when a timeout is actually due.
CONFIG_TICKLESS_KERNEL=y

# Isolated re-test: ONLY the watchdog (no CONFIG_SYMTAB, no HAL fix) - the one
# remaining untested variable from the earlier build that ran clean with the
# SD logging hang, to check whether it alone is what stops the hang.
CONFIG_WATCHDOG=y


# Console/shell over USB CDC-ACM (see the board dts's cdc_acm_uart0 node) -
# no debug UART adapter needed, same USB cable used to flash. Matches
# Zephyr's own samples/subsys/shell/shell_module/overlay-usb.conf.
CONFIG_USB_DEVICE_STACK_NEXT=y
CONFIG_CDC_ACM_SERIAL_INITIALIZE_AT_BOOT=y
CONFIG_CDC_ACM_SERIAL_PRODUCT_STRING="Tropic Community VMU"
CONFIG_UART_LINE_CTRL=y

# Zephyr's own default TX ring buffer for the interrupt-driven shell serial
# backend is a tiny 8 bytes (subsys/shell/backends/Kconfig.backends) - its
# own help text says increasing it "reduces number of interrupts". This
# shell redraws its prompt after nearly every single log line (heavy VT100
# escape sequences), so with only 8 bytes of buffering that turns into a
# storm of tiny interrupt-driven UART bursts under any burst of console
# output (e.g. IMU calibration's several result lines printing back to
# back) - real terminal emulators (confirmed with `screen`) can drop bytes
# under that kind of jittery, chopped-up transmission pattern, making
# output look like it stalled/never printed when it actually did. Bumped
# generously so the whole burst goes out as one clean transfer instead of
# dozens of small ones.
CONFIG_SHELL_BACKEND_SERIAL_TX_RING_BUFFER_SIZE=512

# The USB stack's own INF-level logging (one line per control transfer
# during enumeration) was flooding the small default log ring buffer at
# boot, evicting other modules' still-unprocessed messages (confirmed via
# "--- N messages dropped ---" markers in captured boot logs, right when
# trying to diagnose why the GNSS driver printed nothing at all despite
# clearly being compiled in and enabled). Quiet it down and grow the
# buffer so real diagnostic messages don't get silently lost in the noise.
CONFIG_USBD_LOG_LEVEL_ERR=y
CONFIG_LOG_BUFFER_SIZE=4096

CONFIG_TEST=y
CONFIG_UBSAN=n
CONFIG_ASSERT_LEVEL=2
CONFIG_ASSERT_VERBOSE=y

CONFIG_CMSIS_DSP=y
CONFIG_CMSIS_DSP_FILTERING=y

CONFIG_SYSTEM_WORKQUEUE_STACK_SIZE=4096
CONFIG_STACK_CANARIES=y
CONFIG_ISR_STACK_SIZE=8192

# NOTE: a "boot log to SD card via zephyr,fstab automount +
# CONFIG_LOG_BACKEND_FS" diagnostic was tried and removed - it caused
# unrelated, genuine intermittent boot instability of its own (confirmed
# by bisection: added latency/resource use during boot made an already-
# marginal IMU driver init timeout fail more often, and this build's own
# startup tone became inconsistent). Don't re-add without first
# retesting IMU/buzzer reliability across several power cycles.
CONFIG_LOG_MODE_DEFERRED=y
CONFIG_LOG_MODE_IMMEDIATE=n

CONFIG_FPU=y

# gains (copied from mr_vmu_tropic as a starting point - retune for this
# airframe/motor combination before flight)
CONFIG_CEREBRI_HAB_THRUST_TRIM=10976
CONFIG_CEREBRI_HAB_THRUST_DELTA=10976

CONFIG_CEREBRI_HAB_ROLL_KP=5000000
CONFIG_CEREBRI_HAB_PITCH_KP=5000000
CONFIG_CEREBRI_HAB_YAW_KP=2000000

CONFIG_CEREBRI_HAB_ROLLRATE_KP=600000
CONFIG_CEREBRI_HAB_PITCHRATE_KP=600000
CONFIG_CEREBRI_HAB_YAWRATE_KP=100000

CONFIG_CEREBRI_HAB_ROLLRATE_KI=50000
CONFIG_CEREBRI_HAB_PITCHRATE_KI=50000
CONFIG_CEREBRI_HAB_YAWRATE_KI=50000

CONFIG_CEREBRI_HAB_ROLLRATE_IMAX=20000
CONFIG_CEREBRI_HAB_PITCHRATE_IMAX=20000
CONFIG_CEREBRI_HAB_YAWRATE_IMAX=20000

CONFIG_CEREBRI_HAB_ROLLRATE_KD=20000
CONFIG_CEREBRI_HAB_PITCHRATE_KD=20000
CONFIG_CEREBRI_HAB_YAWRATE_KD=0
CONFIG_CEREBRI_HAB_ATTITUDE_RATE_FCUT=10000

# Previous values (copied from mr_vmu_tropic, untuned):
# CONFIG_CEREBRI_HAB_ATTITUDE_EST_ACCEL_GAIN=140
# CONFIG_CEREBRI_HAB_ATTITUDE_EST_MAG_GAIN=800
# PX4 attitude_estimator_q defaults (ATT_W_ACC=0.2, ATT_W_MAG=0.1), units of 1e-3:
CONFIG_CEREBRI_HAB_ATTITUDE_EST_ACCEL_GAIN=200
CONFIG_CEREBRI_HAB_ATTITUDE_EST_MAG_GAIN=100

# HAB APPS
# ALLOCATION/ANGULAR_VELOCITY/ATTITUDE/COMMAND/POSITION were the leftover
# rdd2-copied drone control stack (motor allocation, cascaded PID attitude/
# position control) - disabled since their C files call casadi functions
# (control_allocation, attitude_control, position_control, etc.) that no
# longer exist in hab.py, now that it's estimator-only. Not part of the
# balloon's control plan (MPC + ValBal fail-safe, decided separately) -
# re-enable only if that drone-control code is ever actually rewritten for
# the balloon instead of deleted.
CONFIG_CEREBRI_HAB_ALLOCATION=n
CONFIG_CEREBRI_HAB_ANGULAR_VELOCITY=n
CONFIG_CEREBRI_HAB_ATTITUDE=n
CONFIG_CEREBRI_HAB_COMMAND=n
CONFIG_CEREBRI_HAB_ESTIMATE=y
CONFIG_CEREBRI_HAB_ESTIMATE_ODOMETRY_ETHERNET=n
CONFIG_CEREBRI_HAB_FSM=y
CONFIG_CEREBRI_HAB_LIGHTING=n
CONFIG_CEREBRI_HAB_POSITION=n

CONFIG_CEREBRI_ACTUATE_PWM_SHELL=n
CONFIG_CEREBRI_ACTUATE_SOUND=y

# This was mistakenly believed to hang boot on its own, same as Ethernet
# (see CONFIG_ZROS_SENSE_BARO's comment above) - actually the barometer
# driver's bug the whole time. Confirmed clean with a physical UART
# console once that was fixed: logs "Arming monitor started - logging
# will start when armed" and boots normally.
CONFIG_CEREBRI_SYNAPSE_LOG_SDCARD=y

# Two identical ICM-42670-P IMUs (imu0/imu1 in the board dts). zros_drivers'
# sense_imu only ever reads DT_ALIAS(accel0)/DT_ALIAS(gyro0) - ACCEL/GYRO_
# COUNT is not consulted by that driver - so only imu0 is wired into the
# pipeline. imu1 is still enabled in the board's devicetree and reachable
# via the sensor shell for bring-up/verification/redundancy work later.
CONFIG_ZROS_SENSE_STREAM=n
CONFIG_ZROS_SENSE_IMU=y
CONFIG_ZROS_SENSE_IMU_ACCEL_COUNT=1
CONFIG_ZROS_SENSE_IMU_GYRO_COUNT=1

CONFIG_ZROS_SENSE_MAG=y
CONFIG_ZROS_SENSE_MAG_COUNT=1

# FIXED: this used to hang boot. Root cause, found via a physical UART
# console + a decoded bus-fault register dump: two real bugs in
# modules/lib/zros_drivers/drivers/sense/baro/main.c, both fixed there
# directly (not board/app-specific):
#   1. baro_timer_handler() submitted a stray, separately-defined
#      `K_WORK_DEFINE(baro_work, ...)` work item instead of the
#      `g_ctx.work_item` actually embedded in context_t. baro_work_handler's
#      CONTAINER_OF() then computed a bogus "ctx" pointer (effectively
#      the address of the stray work item itself), so every ctx->
#      field access read unrelated nearby memory - deterministically,
#      hence the identical crash signature every single boot regardless
#      of what else was enabled.
#   2. sense_baro_entry_point() never called zros_node_init()/
#      zros_pub_init() for ctx->node/ctx->pub, so ctx->pub was used
#      completely uninitialized in zros_pub_update() - masked until
#      bug #1 was fixed, then surfaced as a second bus fault inside
#      Zephyr's own k_mutex_lock() (dereferencing a topic mutex that
#      was never actually part of the intended object).
CONFIG_ZROS_SENSE_BARO=y
CONFIG_ZROS_SENSE_BARO_COUNT=1

# The ARM safety switch (/gpio_keys, checked against
# drivers/sense/safety/main.c) is wired in the board dts the same way
# mr_vmu_tropic does it - see the board dts's header comment.
CONFIG_CEREBRI_SENSE_SAFETY=y

# Input subsystem - required for both the ARM gpio-keys button and RC/CRSF
# below (both drivers live under Kconfig's "if INPUT" block). Every other
# board's cerebri config sets this explicitly; missing here silently
# compiled out gpio-keys and CRSF with no build error, since drivers/sense/
# safety/main.c only needs the input.h header/INPUT_CALLBACK_DEFINE macro
# to link cleanly - nothing ever actually reported an event.
CONFIG_INPUT=y

# RC input, CRSF (see the board dts's lpuart8/rc0 node - swap these for
# CONFIG_INPUT_SBUS_* if the receiver actually plugged in here is SBUS).
CONFIG_CEREBRI_SENSE_RC=y
CONFIG_INPUT_CRSF_THREAD_STACK_SIZE=8192
CONFIG_INPUT_CRSF_REPORT_FILTER=0

# GPS on lpuart2, generic NMEA-0183 driver (works with any standard
# module, not just one vendor's chip - see the overlay's gnss1 node).
CONFIG_ZROS_SENSE_GNSS=y

# GNSS NMEA parsing (modem_chat, on the shared system workqueue by
# default) was directly measured, via a real k_thread_runtime_stats-based
# stall detector, to occasionally cost 63-254ms per invocation (parsing up
# to a full 1024-byte chat buffer inline) - the dominant remaining source
# of system-wide stalls after fixing an unrelated IMU driver issue.
#
# A previous attempt to fix this by enabling CONFIG_MODEM_DEDICATED_WORKQUEUE
# alone was reverted after it made the buzzer laggier. Root cause of that
# regression, found later: CONFIG_MODEM_DEDICATED_WORKQUEUE_PRIORITY
# defaults to SYSTEM_WORKQUEUE_PRIORITY (-2, cooperative) - moving the work
# to a second queue at the SAME un-preemptible priority provided no
# isolation at all, only added a second thread's overhead. This time, the
# dedicated queue's priority is explicitly set below (numerically above)
# the buzzer's priority (drivers/actuate/sound/main.c, MY_PRIORITY=4) so a
# slow GNSS parse can be preempted by the buzzer (and hab_estimate, etc.)
# instead of blocking them.
CONFIG_MODEM_DEDICATED_WORKQUEUE=y
CONFIG_MODEM_DEDICATED_WORKQUEUE_PRIORITY=6

# Ethernet is this codebase's actual telemetry/synapse transport - the
# board has a real PHY (DP83825, confirmed against the schematic's
# RJ45+magnetics connector). This was mistakenly believed to hang boot
# on its own; a physical UART console (see CONFIG_ZROS_SENSE_BARO's
# comment above) proved that was actually the barometer driver's bug
# the whole time - with that fixed, Ethernet enabled alongside
# everything else boots and runs cleanly with no fault.
CONFIG_CEREBRI_SYNAPSE_ETH_RX=y
CONFIG_CEREBRI_SYNAPSE_ETH_TX=y
CONFIG_CEREBRI_ACTUATE_LED_ARRAY=n

# drivers/sense/power/main.c wants one devicetree sensor device (alias
# power0) reporting both SENSOR_CHAN_VOLTAGE and SENSOR_CHAN_CURRENT - see
# the board dts's header comment for why the ADC_A/ADC_V pins alone can't
# satisfy that without custom driver work.
CONFIG_CEREBRI_SENSE_POWER=n

CONFIG_PWM=y

CONFIG_CAN=y
CONFIG_CAN_MAX_FILTER=5
CONFIG_CAN_SHELL=y

CONFIG_NET_DRIVERS=y
CONFIG_NET_CANBUS=y

CONFIG_NET_SOCKETS_CAN=y
CONFIG_NET_DEFAULT_IF_CANBUS_RAW=y

CONFIG_CAN_LOG_LEVEL_DBG=n
CONFIG_CAN_FD_MODE=y
CONFIG_SHELL_ARGC_MAX=72
CONFIG_I2C=y
CONFIG_SENSOR=y
CONFIG_SENSOR_SHELL=y
CONFIG_HEAP_MEM_POOL_SIZE=16384

CONFIG_DEBUG_THREAD_INFO=y
```

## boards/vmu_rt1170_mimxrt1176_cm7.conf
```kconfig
CONFIG_SPEED_OPTIMIZATIONS=y
CONFIG_SIZE_OPTIMIZATIONS=n
CONFIG_CODE_DATA_RELOCATION=y

CONFIG_TEST=y
CONFIG_UBSAN=n
CONFIG_ASSERT=y
CONFIG_ASSERT_LEVEL=2
CONFIG_ASSERT_VERBOSE=y

CONFIG_CMSIS_DSP=y
CONFIG_CMSIS_DSP_FILTERING=y


CONFIG_SYSTEM_WORKQUEUE_STACK_SIZE=4096

CONFIG_STACK_CANARIES=y

CONFIG_ISR_STACK_SIZE=8192

CONFIG_LOG_MODE_DEFERRED=y
CONFIG_LOG_MODE_IMMEDIATE=n

CONFIG_FPU=y

# gains
CONFIG_CEREBRI_HAB_THRUST_TRIM=10976
CONFIG_CEREBRI_HAB_THRUST_DELTA=10976

CONFIG_CEREBRI_HAB_ROLL_KP=5000000
CONFIG_CEREBRI_HAB_PITCH_KP=5000000
CONFIG_CEREBRI_HAB_YAW_KP=2000000

CONFIG_CEREBRI_HAB_ROLLRATE_KP=600000
CONFIG_CEREBRI_HAB_PITCHRATE_KP=600000
CONFIG_CEREBRI_HAB_YAWRATE_KP=100000

CONFIG_CEREBRI_HAB_ROLLRATE_KI=50000
CONFIG_CEREBRI_HAB_PITCHRATE_KI=50000
CONFIG_CEREBRI_HAB_YAWRATE_KI=50000

CONFIG_CEREBRI_HAB_ROLLRATE_IMAX=20000
CONFIG_CEREBRI_HAB_PITCHRATE_IMAX=20000
CONFIG_CEREBRI_HAB_YAWRATE_IMAX=20000

CONFIG_CEREBRI_HAB_ROLLRATE_KD=20000
CONFIG_CEREBRI_HAB_PITCHRATE_KD=20000
CONFIG_CEREBRI_HAB_YAWRATE_KD=0
CONFIG_CEREBRI_HAB_ATTITUDE_RATE_FCUT=10000

CONFIG_CEREBRI_HAB_ATTITUDE_EST_ACCEL_GAIN=140
CONFIG_CEREBRI_HAB_ATTITUDE_EST_MAG_GAIN=800

# HAB APPS
CONFIG_CEREBRI_HAB_ALLOCATION=y
CONFIG_CEREBRI_HAB_ANGULAR_VELOCITY=y
CONFIG_CEREBRI_HAB_ATTITUDE=y
CONFIG_CEREBRI_HAB_COMMAND=y
CONFIG_CEREBRI_HAB_ESTIMATE=y
CONFIG_CEREBRI_HAB_ESTIMATE_ODOMETRY_ETHERNET=n
CONFIG_CEREBRI_HAB_FSM=y
CONFIG_CEREBRI_HAB_LIGHTING=n
CONFIG_CEREBRI_HAB_POSITION=y

# disabled for first live flight
CONFIG_CEREBRI_ACTUATE_PWM_SHELL=n
CONFIG_CEREBRI_ACTUATE_SOUND=y

# config
CONFIG_INPUT=y
CONFIG_INPUT_SBUS_THREAD_STACK_SIZE=8192
CONFIG_INPUT_EVENT_DUMP=n
CONFIG_INPUT_SHELL=n
CONFIG_INPUT_SBUS_REPORT_FILTER=0

CONFIG_CEREBRI_SYNAPSE_LOG_SDCARD=y
CONFIG_ZROS_SENSE_STREAM=y
CONFIG_ZROS_SENSE_STREAM_IMU=y
CONFIG_ZROS_SENSE_STREAM_IMU_DRDY_MODE=y

CONFIG_CEREBRI_SENSE_RC=y
CONFIG_ZROS_SENSE_MAG=y
CONFIG_CEREBRI_SENSE_SAFETY=y
CONFIG_ZROS_SENSE_GNSS=y

CONFIG_CEREBRI_SYNAPSE_ETH_RX=y
CONFIG_CEREBRI_SYNAPSE_ETH_TX=y
CONFIG_CEREBRI_ACTUATE_LED_ARRAY=y
CONFIG_CEREBRI_SENSE_POWER=y

CONFIG_PWM=y

CONFIG_LED_STRIP=y
CONFIG_APA102_STRIP=y
CONFIG_ZROS_SENSE_MAG_COUNT=1

CONFIG_CAN=y
CONFIG_CAN_MAX_FILTER=5
CONFIG_CAN_SHELL=y

CONFIG_NET_DRIVERS=y
CONFIG_NET_CANBUS=y

CONFIG_NET_SOCKETS_CAN=y
CONFIG_NET_DEFAULT_IF_CANBUS_RAW=y

CONFIG_CAN_LOG_LEVEL_DBG=n
CONFIG_CAN_FD_MODE=y
CONFIG_SHELL_ARGC_MAX=72
CONFIG_I2C=y
CONFIG_SENSOR=y
CONFIG_SENSOR_SHELL=y
CONFIG_HEAP_MEM_POOL_SIZE=16384

# Debugging
CONFIG_DEBUG_THREAD_INFO=y

# Logging
#CONFIG_LOG_BACKEND_NET=n
#CONFIG_LOG_BACKEND_NET_SERVER="192.0.2.2"

# USB Mass Storage for log file retrieval
CONFIG_USB_DEVICE_STACK_NEXT=y
CONFIG_USBD_MSC_CLASS=y
CONFIG_CEREBRI_SYNAPSE_USB_MSC=y

# Suppress noisy USB debug messages
CONFIG_UDC_DRIVER_LOG_LEVEL_WRN=y
CONFIG_USBD_LOG_LEVEL_WRN=y
CONFIG_USBD_MSC_LOG_LEVEL_WRN=y

# Enable runtime log filtering (required for CEREBRI_NODE_LOG_INIT to apply filters)
CONFIG_LOG_RUNTIME_FILTERING=y

# Default log level for hab modules using CONFIG_CEREBRI_HAB_LOG_LEVEL
CONFIG_CEREBRI_HAB_LOG_LEVEL_WRN=y
```

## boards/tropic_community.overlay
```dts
/* SPDX-License-Identifier: Apache-2.0 */
/* Copyright 2026 CogniPilot Foundation */

/*
 * All hardware wiring for this board lives in zephyr_boards'
 * boards/nxp/tropic_community/tropic_community.dts - this app-level
 * overlay only maps the hab app's generic sensor/actuator aliases onto
 * that board's chip labels, and configures the DShot actuator mapping,
 * the same split mr_vmu_tropic.overlay uses relative to its own board.dts.
 */

/ {
	aliases {
		can0 = &flexcan3;
		accel0 = &imu0;
		gyro0 = &imu0;
		mag0 = &ist8310;
		mag1 = &bmm350;
		baro0 = &bme280;
		buzzer = &buzzer0;
		gnss = &gnss1;
		rc = &rc0;
	};

	dshot_actuators: dshot_actuators {
		compatible = "cerebri,dshot-actuators";
		aux0 {
			input-type = "velocity";
			input-index = <0>;
			center = <200>;
			scale = <1500>;
			scale-div = <1000>;
		};
		aux1 {
			input-type = "velocity";
			input-index = <1>;
			center = <200>;
			scale = <1500>;
			scale-div = <1000>;
		};
		aux2 {
			input-type = "velocity";
			input-index = <2>;
			center = <200>;
			scale = <1500>;
			scale-div = <1000>;
		};
		aux3 {
			input-type = "velocity";
			input-index = <3>;
			center = <200>;
			scale = <1500>;
			scale-div = <1000>;
		};
	};
};

/* GPS connector, Teensy pins 15/14 (enabled by the board dts, only the
 * GNSS chip binding lives here - genuinely depends on which module gets
 * plugged into the DS-009 connector, same reasoning mr_vmu_tropic uses
 * for its own gnss1 node).
 *
 * Was "gnss-nmea-generic" (Zephyr's stock protocol-agnostic NMEA-0183
 * listener) - confirmed dead-on-arrival with a real M10 GPS module: that
 * driver only passively listens for NMEA sentences, it never sends the
 * module anything, so if the module doesn't happen to already be in
 * plain-NMEA-at-9600 mode (many u-blox M10 modules ship UBX-first, or at
 * a different baud), Zephyr gets nothing while PX4 - which actively
 * probes/configures the module via UBX - works fine on the same
 * hardware. Switched to "u-blox,m8": M10 shares the same UBX protocol
 * generation as M8/M9, and this exact binding+MCU family (MIMXRT1062)
 * combination is Zephyr's own upstream reference example for a u-blox
 * M10 module (zephyr/samples/drivers/gnss/boards/mimxrt1062_fmurt6.overlay,
 * node literally named "u_blox_m10") - this actively configures the
 * module the way PX4 does, instead of just hoping it's already talking
 * plain NMEA.
 */
&lpuart2 {
	/* SOLVED. Byte-level RX instrumentation on the u-blox,m10 driver
	 * (which was correctly talking at this baud) showed the module
	 * continuously streaming plain ASCII/NMEA text (e.g. bytes decoding
	 * to ",08,19,21,318,..." - a GSV satellite-info sentence fragment),
	 * never UBX binary frames. So the module's actual default output
	 * protocol is NMEA, not UBX - the module was never broken, and 115200
	 * (confirmed via Holybro's own docs for this exact module) was always
	 * the correct baud. Both the M8 and M10 UBX-based drivers only ever
	 * failed because they were listening for 0xB5 0x62 binary frames
	 * that this module was never going to send. Back to the original,
	 * simplest correct answer: gnss-nmea-generic, at the correct baud.
	 */
	current-speed = <115200>;

	gnss1: gnss {
		compatible = "gnss-nmea-generic";
	};
};
```

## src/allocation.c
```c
/*
 * Copyright CogniPilot Foundation 2023
 * SPDX-License-Identifier: Apache-2.0
 */

#include "app/hab/casadi/hab.h"
#include "math.h"

#include <zephyr/logging/log.h>
#include <zephyr/shell/shell.h>

#include <zros/private/zros_node_struct.h>
#include <zros/private/zros_pub_struct.h>
#include <zros/private/zros_sub_struct.h>
#include <zros/zros_node.h>
#include <zros/zros_pub.h>
#include <zros/zros_sub.h>

#include <synapse_topic_list.h>

#include <cerebri/core/casadi.h>
#include <cerebri/core/log_utils.h>

#define MY_STACK_SIZE 3072
#define MY_PRIORITY   4

#ifndef M_PI
#define M_PI 3.14159265358979323846
#endif

CEREBRI_NODE_LOG_INIT(hab_allocation, LOG_LEVEL_WRN);

static K_THREAD_STACK_DEFINE(g_my_stack_area, MY_STACK_SIZE);

struct context {
	struct zros_node node;
	synapse_pb_Status status;
	synapse_pb_Actuators actuators;
	synapse_pb_Vector3 force_sp, moment_sp;
	struct zros_sub sub_status, sub_force_sp, sub_moment_sp;
	struct zros_pub pub_actuators;
	struct k_sem running;
	size_t stack_size;
	k_thread_stack_t *stack_area;
	struct k_thread thread_data;
};

static struct context g_ctx = {
	.node = {},
	.status = synapse_pb_Status_init_default,
	.actuators =
		{
			.has_stamp = true,
			.stamp = synapse_pb_Timestamp_init_default,
			.velocity_count = 4,
			.normalized_count = 0,
			.position_count = 0,
			.position = {},
			.normalized = {},
			.velocity = {},
		},
	.sub_status = {},
	.sub_force_sp = {},
	.sub_moment_sp = {},
	.pub_actuators = {},
	.running = Z_SEM_INITIALIZER(g_ctx.running, 1, 1),
	.stack_size = MY_STACK_SIZE,
	.stack_area = g_my_stack_area,
	.thread_data = {},
};

static void hab_allocation_init(struct context *ctx)
{
	zros_node_init(&ctx->node, "hab_allocation");
	zros_sub_init(&ctx->sub_status, &ctx->node, &topic_status, &ctx->status, 10);
	zros_sub_init(&ctx->sub_force_sp, &ctx->node, &topic_force_sp, &ctx->force_sp, 1000);
	zros_sub_init(&ctx->sub_moment_sp, &ctx->node, &topic_moment_sp, &ctx->moment_sp, 1000);
	zros_pub_init(&ctx->pub_actuators, &ctx->node, &topic_actuators, &ctx->actuators);
	k_sem_take(&ctx->running, K_FOREVER);
	LOG_INF("init");
}

static void hab_allocation_fini(struct context *ctx)
{
	zros_sub_fini(&ctx->sub_status);
	zros_sub_fini(&ctx->sub_force_sp);
	zros_sub_fini(&ctx->sub_moment_sp);
	zros_pub_fini(&ctx->pub_actuators);
	zros_node_fini(&ctx->node);
	k_sem_give(&ctx->running);
	LOG_INF("fini");
}

static void stop(struct context *ctx)
{
	for (int i = 0; i < 4; i++) {
		ctx->actuators.velocity[i] = 0;
	}
}

static void hab_allocation_run(void *p0, void *p1, void *p2)
{
	struct context *ctx = p0;
	ARG_UNUSED(p1);
	ARG_UNUSED(p2);

	hab_allocation_init(ctx);

	struct k_poll_event events[] = {
		*zros_sub_get_event(&ctx->sub_moment_sp),
	};

	while (k_sem_take(&ctx->running, K_NO_WAIT) < 0) {
		int rc = 0;
		rc = k_poll(events, ARRAY_SIZE(events), K_MSEC(100));
		if (rc != 0) {
			LOG_DBG_RATELIMIT_RATE(30000, "not receiving moment_sp");
		}

		// update subscriptions
		zros_sub_update(&ctx->sub_status);
		zros_sub_update(&ctx->sub_force_sp);
		zros_sub_update(&ctx->sub_moment_sp);

		if (rc < 0) {
			stop(ctx);
			LOG_DBG("no data, stopped");
		} else if (ctx->status.arming != synapse_pb_Status_Arming_ARMING_ARMED) {
			// not armed, stop
			stop(ctx);
		} else {
			static double const F_max = 20.0;
			static double const l = CONFIG_CEREBRI_HAB_MOTOR_L_MM * 1e-3;
			static double const Cm = CONFIG_CEREBRI_HAB_MOTOR_CM * 1e-6;
			static double const Ct = CONFIG_CEREBRI_HAB_MOTOR_CT * 1e-9;
			double omega[4];
			double Fp_sum[4], F_moment[4], F_thrust[4], M_sat[3];
			double moment[3] = {ctx->moment_sp.x, ctx->moment_sp.y, ctx->moment_sp.z};

			// control_allocation:(F_max,l,Cm,Ct,T,M[3])->(omega[4],Fp_sum[4],F_moment[4],F_thrust[4],M_sat[3])
			CASADI_FUNC_ARGS(control_allocation)

			args[0] = &F_max;
			args[1] = &l;
			args[2] = &Cm;
			args[3] = &Ct;
			args[4] = &ctx->force_sp.z;
			args[5] = moment;

			res[0] = omega;
			res[1] = Fp_sum;
			res[2] = F_moment;
			res[3] = F_thrust;
			res[4] = M_sat;
			CASADI_FUNC_CALL(control_allocation)

			for (int i = 0; i < 4; i++) {
				if (!isfinite(omega[i])) {
					LOG_WRN("omega is not finite: %10.4f", omega[i]);
					omega[i] = 0;
				} else if (omega[i] > 3000) {
					LOG_WRN("omega too large: %10.4f", omega[i]);
					omega[i] = 3000;
				} else if (omega[i] < 0) {
					LOG_WRN("omega negative: %10.4f", omega[i]);
					omega[i] = 0;
				}
				ctx->actuators.velocity[i] = omega[i];
			}
		}

		// publish
		stamp_msg(&ctx->actuators.stamp, k_uptime_ticks());
		ctx->actuators.has_stamp = true;
		zros_pub_update(&ctx->pub_actuators);
	}

	hab_allocation_fini(ctx);
}

static int start(struct context *ctx)
{
	k_tid_t tid =
		k_thread_create(&ctx->thread_data, ctx->stack_area, ctx->stack_size,
				hab_allocation_run, ctx, NULL, NULL, MY_PRIORITY, 0, K_FOREVER);
	k_thread_name_set(tid, "hab_allocation");
	k_thread_start(tid);
	return 0;
}

static int hab_allocation_cmd_handler(const struct shell *sh, size_t argc, char **argv, void *data)
{
	ARG_UNUSED(argc);
	struct context *ctx = data;

	if (strcmp(argv[0], "start") == 0) {
		if (k_sem_count_get(&g_ctx.running) == 0) {
			shell_print(sh, "already running");
		} else {
			start(ctx);
		}
	} else if (strcmp(argv[0], "stop") == 0) {
		if (k_sem_count_get(&g_ctx.running) == 0) {
			k_sem_give(&g_ctx.running);
		} else {
			shell_print(sh, "not running");
		}
	} else if (strcmp(argv[0], "status") == 0) {
		shell_print(sh, "running: %d", (int)k_sem_count_get(&g_ctx.running) == 0);
	}
	return 0;
}

SHELL_SUBCMD_DICT_SET_CREATE(sub_hab_allocation, hab_allocation_cmd_handler,
			     (start, &g_ctx, "start"), (stop, &g_ctx, "stop"),
			     (status, &g_ctx, "status"));

SHELL_CMD_REGISTER(hab_allocation, &sub_hab_allocation, "hab allocation commands", NULL);

static int hab_allocation_sys_init(void)
{
	return start(&g_ctx);
};

SYS_INIT(hab_allocation_sys_init, APPLICATION, 99);

// vi: ts=4 sw=4 et
```

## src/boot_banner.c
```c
/*
 * Copyright (c) 2023 CogniPilot Foundation
 * SPDX-License-Identifier: Apache-2.0
 */

#include <zephyr/kernel.h>
#include <zephyr/logging/log.h>

#if defined(CONFIG_CEREBRI_CORE_COMMON_BOOT_BANNER)
#include <stdio.h>
#endif

#include <cerebri/core/common.h>
#include <cerebri/core/log_utils.h>

CEREBRI_NODE_LOG_INIT(hab_boot_banner, LOG_LEVEL_WRN);

static int hab_boot_banner_sys_init(void)
{
	LOG_INF("Cerebri HAB %d.%d.%d", CONFIG_CEREBRI_VERSION_MAJOR, CONFIG_CEREBRI_VERSION_MINOR,
		CONFIG_CEREBRI_VERSION_PATCH);
#if defined(CONFIG_CEREBRI_CORE_COMMON_BOOT_BANNER)
	printf("%s%s", banner_brain, banner_name);
#endif
	return 0;
};

SYS_INIT(hab_boot_banner_sys_init, APPLICATION, 0);

// vi: ts=4 sw=4 et
```
